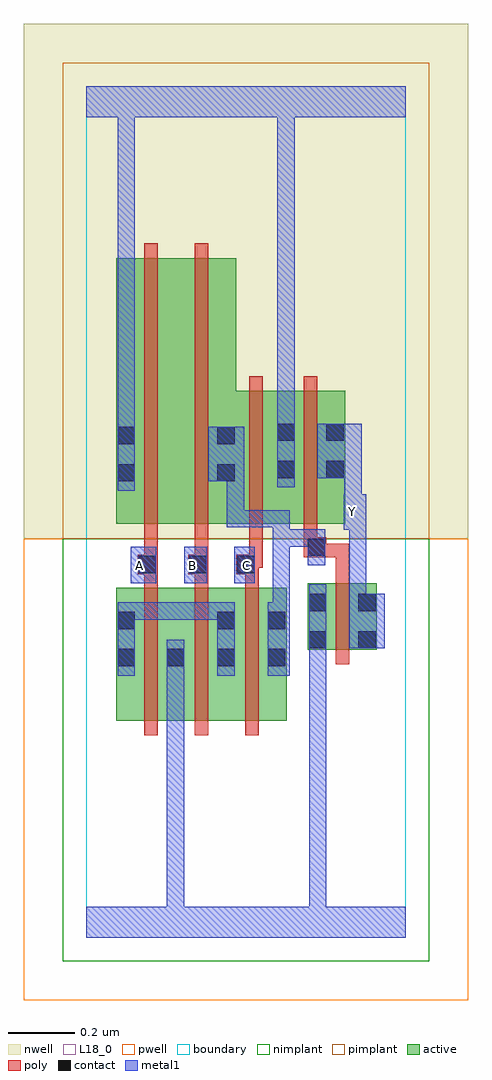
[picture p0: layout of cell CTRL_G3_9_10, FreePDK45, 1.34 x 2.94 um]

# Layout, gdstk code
import gdstk
lib = gdstk.Library(unit=1e-6, precision=1e-09)
def R(c, l, rs):  # rectangles x0, y0, x1, y1
    for r in rs: c.add(gdstk.rectangle(r[:2], r[2:], *l))
def A(c, l, x, y, w, h, nx, ny, dx, dy):  # array of equal rectangles
    R(c, l, [(x+i*dx, y+j*dy, x+i*dx+w, y+j*dy+h) for i in range(nx) for j in range(ny)])
active = (1, 0)
pwell = (2, 0)
nwell = (3, 0)
nimplant = (4, 0)
pimplant = (5, 0)
poly = (9, 0)
contact = (10, 0)
metal1 = (11, 0)
L18_0 = (18, 0)
boundary = (235, 0)

ctrl_g3_9_10 = lib.new_cell('CTRL_G3_9_10')
R(ctrl_g3_9_10, active, [(0.09,0.652,0.298,1.052), (0.09,0.652,0.15,1.052), (0.238,0.652,0.45,1.052), (0.238,0.652,0.298,0.872), (0.39,0.652,0.602,1.052), (0.39,0.652,0.45,0.984), (0.542,0.756,0.602,1.052), (0.666,0.866,0.726,1.066), (0.666,0.866,0.874,1.066), (0.814,0.866,0.874,1.066), (0.09,1.244,0.27,2.044), (0.09,1.244,0.15,2.044), (0.27,1.244,0.45,2.044), (0.39,1.244,0.63,1.644), (0.57,1.244,0.778,1.644), (0.57,1.244,0.63,1.644), (0.718,1.244,0.778,1.644), (0.39,1.368,0.45,1.644)])
R(ctrl_g3_9_10, pwell, [(-0.188,-0.188,1.148,1.2)])
R(ctrl_g3_9_10, nwell, [(-0.188,1.2,1.148,2.748)])
R(ctrl_g3_9_10, nimplant, [(-0.072,-0.072,1.032,1.2)])
R(ctrl_g3_9_10, pimplant, [(-0.072,1.2,1.032,2.632)])
A(ctrl_g3_9_10, poly, 0.174, 0.608, 0.04, 0.488, 3, 1, 0.152, 0)
A(ctrl_g3_9_10, poly, 0.174, 1.056, 0.04, 0.076, 3, 1, 0.152, 0)
R(ctrl_g3_9_10, poly, [(0.75,0.822,0.79,1.11), (0.75,1.07,0.79,1.184), (0.154,1.092,0.214,1.152), (0.306,1.092,0.366,1.152), (0.326,1.092,0.366,1.132), (0.326,1.092,0.366,1.132), (0.45,1.092,0.518,1.152), (0.174,1.112,0.214,1.152), (0.174,1.112,0.214,1.152), (0.174,1.112,0.214,1.24), (0.326,1.112,0.366,1.24), (0.478,1.112,0.518,1.152), (0.478,1.112,0.53,1.152), (0.49,1.112,0.53,1.24), (0.654,1.144,0.722,1.204), (0.682,1.144,0.722,1.184), (0.682,1.144,0.79,1.184), (0.654,1.164,0.694,1.24), (0.174,1.2,0.214,2.088), (0.326,1.2,0.366,2.088), (0.49,1.2,0.53,1.688), (0.654,1.2,0.694,1.688)])
A(ctrl_g3_9_10, contact, 0.242, 0.816, 0.052, 0.052, 3, 1, 0.152, 0)
R(ctrl_g3_9_10, contact, [(0.094,0.816,0.146,0.868), (0.67,0.87,0.722,0.922), (0.818,0.87,0.87,0.922), (0.094,0.928,0.146,0.98), (0.394,0.928,0.446,0.98), (0.546,0.928,0.598,0.98), (0.67,0.982,0.722,1.034), (0.818,0.982,0.87,1.034), (0.158,1.096,0.21,1.148), (0.31,1.096,0.362,1.148), (0.454,1.096,0.506,1.148), (0.666,1.148,0.718,1.2), (0.094,1.372,0.146,1.424), (0.394,1.372,0.446,1.424), (0.574,1.382,0.626,1.434), (0.722,1.382,0.774,1.434), (0.094,1.484,0.146,1.536), (0.394,1.484,0.446,1.536), (0.574,1.494,0.626,1.546), (0.722,1.494,0.774,1.546)])
R(ctrl_g3_9_10, metal1, [(0,0,0.96,0.092), (0.242,0.04,0.294,0.092), (0.242,0.04,0.294,0.092), (0.242,0.04,0.294,0.092), (0.242,0.04,0.294,0.092), (0.242,0.04,0.294,0.84), (0.67,0.04,0.722,0.092), (0.67,0.04,0.722,0.092), (0.67,0.04,0.722,0.092), (0.67,0.04,0.722,0.092), (0.67,0.04,0.722,0.894), (0.094,0.788,0.146,1.008), (0.242,0.788,0.294,0.84), (0.242,0.788,0.294,0.84), (0.242,0.788,0.294,0.84), (0.242,0.788,0.294,0.84), (0.242,0.788,0.294,0.84), (0.242,0.788,0.294,0.84), (0.242,0.788,0.294,0.84), (0.242,0.788,0.294,0.84), (0.242,0.788,0.294,0.896), (0.394,0.788,0.446,1.008), (0.546,0.788,0.612,1.008), (0.67,0.842,0.722,0.894), (0.67,0.842,0.722,0.894), (0.67,0.842,0.722,0.894), (0.67,0.842,0.722,0.894), (0.67,0.842,0.722,0.894), (0.67,0.842,0.722,0.894), (0.67,0.842,0.722,0.894), (0.67,0.842,0.722,0.894), (0.67,0.842,0.722,0.894), (0.67,0.842,0.722,0.894), (0.67,0.842,0.722,0.894), (0.67,0.842,0.722,0.894), (0.67,0.842,0.722,1.062), (0.79,0.87,0.898,1.034), (0.094,0.956,0.146,1.008), (0.094,0.956,0.146,1.008), (0.094,0.956,0.308,1.008), (0.256,0.956,0.308,1.008), (0.256,0.956,0.308,1.008), (0.256,0.956,0.308,1.008), (0.256,0.956,0.446,1.008), (0.56,0.956,0.612,1.008), (0.56,0.956,0.612,1.008), (0.56,0.956,0.612,1.228), (0.79,0.982,0.842,1.278), (0.134,1.066,0.21,1.176), (0.294,1.066,0.362,1.176), (0.444,1.066,0.506,1.176), (0.666,1.12,0.718,1.228), (0.56,1.176,0.636,1.228), (0.56,1.176,0.612,1.286), (0.584,1.176,0.636,1.228), (0.584,1.176,0.718,1.228), (0.774,1.226,0.842,1.334), (0.422,1.234,0.474,1.286), (0.422,1.234,0.474,1.286), (0.422,1.234,0.474,1.286), (0.422,1.234,0.612,1.286), (0.422,1.234,0.474,1.424), (0.776,1.282,0.828,1.434), (0.776,1.282,0.828,1.334), (0.776,1.282,0.828,1.334), (0.094,1.344,0.146,1.564), (0.574,1.354,0.626,1.574), (0.366,1.372,0.474,1.536), (0.694,1.382,0.828,1.546), (0.094,1.512,0.146,1.564), (0.094,1.512,0.146,1.564), (0.094,1.512,0.146,1.564), (0.094,1.512,0.146,1.564), (0.094,1.512,0.146,1.564), (0.094,1.512,0.146,1.564), (0.094,1.512,0.146,1.564), (0.094,1.512,0.146,1.564), (0.094,1.512,0.146,2.52), (0.574,1.522,0.626,1.574), (0.574,1.522,0.626,1.574), (0.574,1.522,0.626,1.574), (0.574,1.522,0.626,1.574), (0.574,1.522,0.626,1.574), (0.574,1.522,0.626,1.574), (0.574,1.522,0.626,1.574), (0.574,1.522,0.626,1.574), (0.574,1.522,0.626,1.574), (0.574,1.522,0.626,1.574), (0.574,1.522,0.626,1.574), (0.574,1.522,0.626,1.574), (0.574,1.522,0.626,1.574), (0.574,1.522,0.626,1.574), (0.574,1.522,0.626,1.574), (0.574,1.522,0.626,1.574), (0.574,1.522,0.626,2.52), (0,2.468,0.96,2.56)])
A(ctrl_g3_9_10, L18_0, 0.134, 1.094, 0.052, 0.052, 3, 1, 0.16, 0)
R(ctrl_g3_9_10, L18_0, [(0,0,0.96,0.092), (0.242,0.04,0.294,0.092), (0.242,0.04,0.294,0.092), (0.242,0.04,0.294,0.092), (0.242,0.04,0.294,0.092), (0.242,0.04,0.294,0.84), (0.67,0.04,0.722,0.092), (0.67,0.04,0.722,0.092), (0.67,0.04,0.722,0.092), (0.67,0.04,0.722,0.092), (0.67,0.04,0.722,0.894), (0.242,0.788,0.294,0.84), (0.242,0.788,0.294,0.84), (0.242,0.788,0.294,0.84), (0.242,0.788,0.294,0.84), (0.242,0.788,0.294,0.84), (0.242,0.788,0.294,0.84), (0.242,0.788,0.294,0.84), (0.242,0.788,0.294,0.84), (0.242,0.788,0.294,0.896), (0.67,0.842,0.722,1.062), (0.67,0.842,0.722,0.894), (0.67,0.842,0.722,0.894), (0.67,0.842,0.722,0.894), (0.67,0.842,0.722,0.894), (0.67,0.842,0.722,0.894), (0.67,0.842,0.722,0.894), (0.67,0.842,0.722,0.894), (0.67,0.842,0.722,0.894), (0.67,0.842,0.722,0.894), (0.67,0.842,0.722,0.894), (0.67,0.842,0.722,0.894), (0.67,0.842,0.722,0.894), (0.79,0.87,0.898,1.034), (0.79,0.982,0.842,1.278), (0.134,1.066,0.21,1.176), (0.294,1.066,0.362,1.176), (0.444,1.066,0.506,1.176), (0.774,1.226,0.842,1.334), (0.774,1.254,0.826,1.306), (0.776,1.282,0.828,1.334), (0.776,1.282,0.828,1.334), (0.776,1.282,0.828,1.434), (0.094,1.344,0.146,1.564), (0.574,1.354,0.626,1.574), (0.694,1.382,0.828,1.546), (0.094,1.512,0.146,1.564), (0.094,1.512,0.146,1.564), (0.094,1.512,0.146,1.564), (0.094,1.512,0.146,1.564), (0.094,1.512,0.146,1.564), (0.094,1.512,0.146,1.564), (0.094,1.512,0.146,1.564), (0.094,1.512,0.146,1.564), (0.094,1.512,0.146,2.52), (0.574,1.522,0.626,1.574), (0.574,1.522,0.626,1.574), (0.574,1.522,0.626,1.574), (0.574,1.522,0.626,1.574), (0.574,1.522,0.626,1.574), (0.574,1.522,0.626,1.574), (0.574,1.522,0.626,1.574), (0.574,1.522,0.626,1.574), (0.574,1.522,0.626,1.574), (0.574,1.522,0.626,1.574), (0.574,1.522,0.626,1.574), (0.574,1.522,0.626,1.574), (0.574,1.522,0.626,1.574), (0.574,1.522,0.626,1.574), (0.574,1.522,0.626,1.574), (0.574,1.522,0.626,1.574), (0.574,1.522,0.626,2.52), (0,2.468,0.96,2.56)])
R(ctrl_g3_9_10, boundary, [(0,0,0.96,2.56)])
ctrl_g3_9_10.add(gdstk.Label('A', (0.16,1.12), layer=11, texttype=0))
ctrl_g3_9_10.add(gdstk.Label('B', (0.32,1.12), layer=11, texttype=0))
ctrl_g3_9_10.add(gdstk.Label('C', (0.48,1.12), layer=11, texttype=0))
ctrl_g3_9_10.add(gdstk.Label('Y', (0.8,1.28), layer=11, texttype=0))

lib.write_gds('CTRL_G3_9_10.gds')
